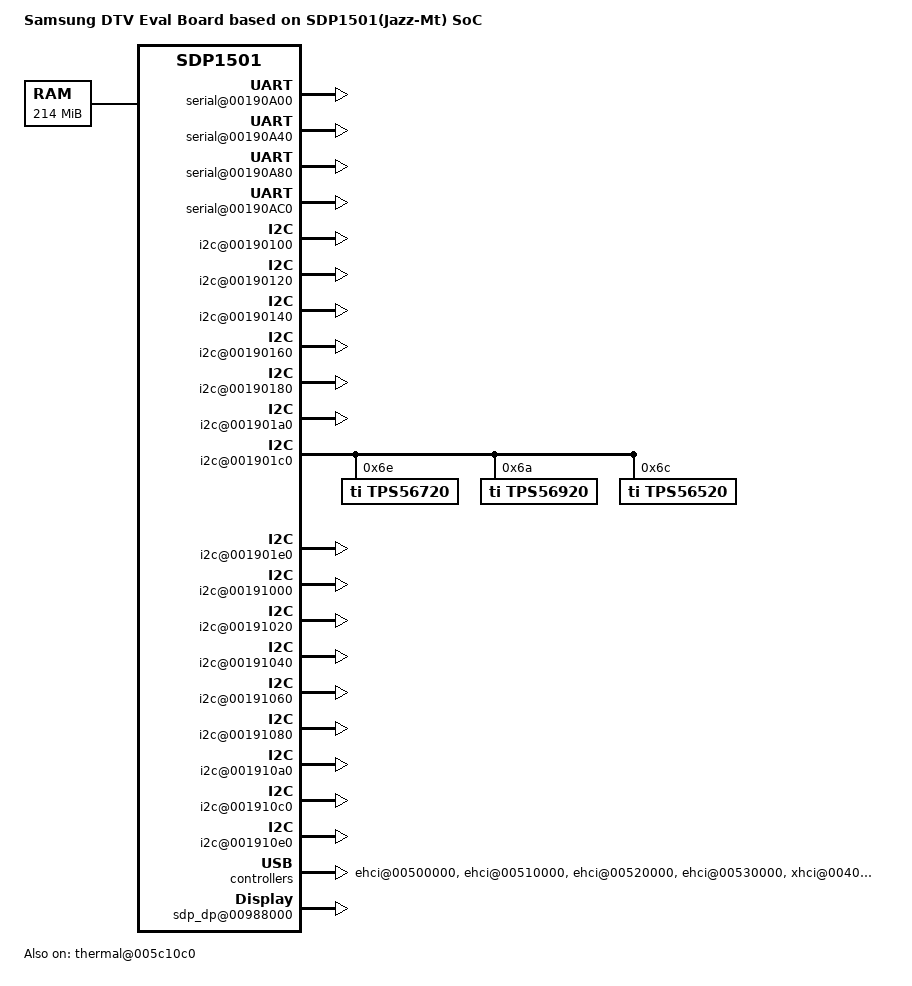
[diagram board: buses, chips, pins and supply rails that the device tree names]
/*
 * Copyright (C) 2015 Samsung Electronics Co.Ltd
 *
 * This program is free software; you can redistribute it and/or modify
 * it under the terms of the GNU General Public License version 2 as
 * published by the Free Software Foundation.
 */

/dts-v1/;
/include/ "sdp1501.dtsi"

/ {
	model = "Samsung DTV Eval Board based on SDP1501(Jazz-Mt) SoC";
	compatible = "samsung,dtv", "samsung,sdp1501";

	memory {
		device_type = "memory";
		reg = <0x01000000 0x0D600000>; //, <0x20000000 0x0AD00000>, <0x45800000 0x01200000>, <0x60000000 0x11700000>, <0x80000000 0x39400000>;
	};

	chosen {
		bootargs = "console=ttyS0,115200N8 root=/dev/mmcblk0p3 rootfstype=squashfs rootwait earlyprintk sdp_sparsemem nosmp";
	};

	fixed-rate-clocks {
		fin {
			compatible = "samsung,sdp-clock-fin";
			clock-frequency = <24576000>;
		};
	};

	serial@00190A00 {
		status = "okay";
	};

	serial@00190A40 {
		status = "okay";
	};

	serial@00190A80 {
		status = "okay";
	};

	serial@00190AC0 {
		status = "okay";
	};

	pinctrl{
		compatible = "samsung,sdp-pinctrl";
		reg = <0x005C1000 0x230>;
		start-offset = <0x118>;
		nr-banks = <23>;
		model-sel = <1>;
	};
	i2c@00190100 {
		status = "okay";
		samsung,i2c-sda-delay = <1>;
		samsung,i2c-max-bus-freq = <400000>;
		samsung,i2c-irq-status-reg = <0x001901f4>;
		samsung,i2c-cpu-affinity = <3>;
	};

	i2c@00190120 {
		status = "okay";
		samsung,i2c-sda-delay = <1>;
		samsung,i2c-max-bus-freq = <400000>;
		samsung,i2c-irq-status-reg = <0x001901f4>;
		samsung,i2c-cpu-affinity = <3>;
	};

	i2c@00190140 {
		status = "okay";
		samsung,i2c-sda-delay = <1>;
		samsung,i2c-max-bus-freq = <400000>;
		samsung,i2c-irq-status-reg = <0x001901f4>;
		samsung,i2c-cpu-affinity = <3>;
	};

	i2c@00190160 {
		status = "okay";
		samsung,i2c-sda-delay = <1>;
		samsung,i2c-max-bus-freq = <400000>;
		samsung,i2c-irq-status-reg = <0x001901f4>;
		samsung,i2c-cpu-affinity = <3>;
	};

	i2c@00190180 {
		status = "okay";
		samsung,i2c-sda-delay = <1>;
		samsung,i2c-max-bus-freq = <400000>;
		samsung,i2c-irq-status-reg = <0x001901f4>;
		samsung,i2c-cpu-affinity = <3>;
	};

	i2c@001901a0 {
		status = "okay";
		samsung,i2c-sda-delay = <1>;
		samsung,i2c-max-bus-freq = <400000>;
		samsung,i2c-irq-status-reg = <0x001901f4>;
		samsung,i2c-cpu-affinity = <3>;
	};

	i2c@001901c0 {
		status = "okay";
		samsung,i2c-sda-delay = <1>;
		samsung,i2c-max-bus-freq = <400000>;
		samsung,i2c-irq-status-reg = <0x001901f4>;
		samsung,i2c-cpu-affinity = <3>;

		tps56720@6e {
			compatible = "ti,tps56720";
			reg = <0x6e>;

			regulator-name = "CPU_PW";
			regulator-min-microvolt = <600000>;
			regulator-max-microvolt = <1870000>;
			regulator-always-on;
			regulator-boot-on;

			default_volt = <1100000>;
		};
		tps56920@6a {
			compatible = "ti,tps56920";
			reg = <0x6a>;

			regulator-name = "CORE_PW";
			regulator-min-microvolt = <600000>;
			regulator-max-microvolt = <1870000>;
			regulator-always-on;
			regulator-boot-on;

			default_volt = <1000000>;
		};
		tps56520@6c {
			compatible = "ti,tps56520";
			reg = <0x6c>;

			regulator-name = "DVDE_PW";
			regulator-min-microvolt = <600000>;
			regulator-max-microvolt = <1870000>;
			regulator-always-on;
			regulator-boot-on;

			default_volt = <1000000>;
		};
	};

	i2c@001901e0 {
		status = "okay";
		samsung,i2c-sda-delay = <1>;
		samsung,i2c-max-bus-freq = <400000>;
		samsung,i2c-irq-status-reg = <0x001901f4>;
		samsung,i2c-cpu-affinity = <3>;
		/*
		tps56520@6e {
			compatible = "ti,tps56520";
			reg = <0x6e>;

			regulator-name = "GPU_PW";
			regulator-min-microvolt = <600000>;
			regulator-max-microvolt = <1870000>;
			regulator-always-on;
			regulator-boot-on;

			default_volt = <1000000>;
		};
		tps56920@6e {
			compatible = "ti,tps56920";
			reg = <0x6c>;

			regulator-name = "FRC_PW";
			regulator-min-microvolt = <600000>;
			regulator-max-microvolt = <1870000>;
			regulator-always-on;
			regulator-boot-on;

			default_volt = <1000000>;
		};
		*/
	};

	i2c@00191000 {
		status = "okay";
		samsung,i2c-sda-delay = <1>;
		samsung,i2c-max-bus-freq = <400000>;
		samsung,i2c-irq-status-reg = <0x001910f4>;
		samsung,i2c-cpu-affinity = <3>;
	};

	i2c@00191020 {
		status = "okay";
		samsung,i2c-sda-delay = <1>;
		samsung,i2c-max-bus-freq = <400000>;
		samsung,i2c-irq-status-reg = <0x001910f4>;
		samsung,i2c-pad-enable = <0x005C1040 0x800000>;
		samsung,i2c-cpu-affinity = <3>;
	};

	i2c@00191040 {
		status = "okay";
		samsung,i2c-sda-delay = <1>;
		samsung,i2c-max-bus-freq = <400000>;
		samsung,i2c-irq-status-reg = <0x001910f4>;
	//	samsung,i2c-pad-enable = <0x10030000 0x80000000>;// Mux HS
		samsung,i2c-cpu-affinity = <3>;
	};

	i2c@00191060 {
		status = "okay";
		samsung,i2c-sda-delay = <1>;
		samsung,i2c-max-bus-freq = <400000>;
		samsung,i2c-irq-status-reg = <0x001910f4>;
		samsung,i2c-pad-enable = <0x005C1040 0x1000000>;
		samsung,i2c-cpu-affinity = <3>;
	};

	i2c@00191080 {
		status = "okay";
		samsung,i2c-sda-delay = <1>;
		samsung,i2c-max-bus-freq = <400000>;
		samsung,i2c-irq-status-reg = <0x001910f4>;
		samsung,i2c-pad-enable = <0x005C1040 0x2000000>;
		samsung,i2c-cpu-affinity = <3>;
	};

	i2c@001910a0 {
		status = "okay";
		samsung,i2c-sda-delay = <1>;
		samsung,i2c-max-bus-freq = <400000>;
		samsung,i2c-irq-status-reg = <0x001910f4>;
		samsung,i2c-cpu-affinity = <3>;
	};

	i2c@001910c0 {
		status = "okay";
		samsung,i2c-sda-delay = <1>;
		samsung,i2c-max-bus-freq = <400000>;
		samsung,i2c-irq-status-reg = <0x001910f4>;
		samsung,i2c-pad-enable = <0x005C1044 0x8000000>;
		samsung,i2c-cpu-affinity = <3>;
	};

	i2c@001910e0 {
		status = "okay";
		samsung,i2c-sda-delay = <1>;
		samsung,i2c-max-bus-freq = <400000>;
		samsung,i2c-irq-status-reg = <0x001910f4>;
		samsung,i2c-pad-enable = <0x005C1044 0x10000000>;
		samsung,i2c-cpu-affinity = <3>;

	};
/*
	i2c@00190000 {
		status = "okay";
		samsung,i2c-hs-sel = <0x130000 0x02000000>;
		samsung,i2c-hs-fifosize = <64>;
	//	samsung,i2c-sda-delay = <1>;
		samsung,i2c-hs-bus-freq = <1000000>;
	//	samsung,i2c-irq-status-reg = <0x100901F4>;
		samsung,i2c-cpu-affinity = <3>;
	};
*/
	dummy_panel {
			compatible = "dummy_panel";

			display-timings {
				native-mode = <&timing0>;

				timing0: timing-0 {
					clock-frequency = <0>;
					hactive = <1920>;
					vactive = <1080>;
					hfront-porch = <0>;
					hback-porch = <0>;
					hsync-len = <0>;
					vfront-porch = <0>;
					vback-porch = <0>;
					vsync-len = <0>;
			};
		};

	};

	ehci@00500000 {
		status = "okay";
	};

	ehci@00510000 {
		status = "okay";
	};

	ehci@00520000 {
		status = "okay";
	};

	ehci@00530000 {
		status = "okay";
	};


	xhci@00400000 {
		status = "okay";
	};


	ohci@00508000 {
		status = "okay";
	};

	ohci@00518000 {
		status = "okay";
	};

	ohci@00528000 {
		status = "okay";
	};

	ohci@00538000 {
		status = "okay";
	};

	sdp_dp@00988000 {
		compatible = "samsung,sdp1511-sdp_dp";
		reg =	<0x00C00000	0xA0000>,	/*TOP_DP_SCL*/
		<0x00CB0000	0x10000>,	/*TOP_DP_SCL2*/
		<0x00D00000	0x50000>,	/*TOP_DP_NRFC1*/
		<0x00D80000	0x30000>,	/*TOP_DP_NRFC2*/
		<0x00DC0000	0x20000>,	/*TOP_DP_NRFC3*/
		<0x00980000	0x38000>,	/*TOP_DP_VE*/
		<0x00B90000	0x10000>,	/*TOP_DP_TFC*/
		<0x00B80000	0x10000>,	/*TOP_DP_ROT*/
		<0x005C0008	0x4>,		/*TOP_VID_PLL_PMS*/
		<0x005C001C	0x4>,		/*TOP_VX1_PLL_PMS*/
		<0x005C00F8	0x4>;		/*TOP_VID_CLK_MUX_SEL*/


		interrupts              = <0 94 0>;
		samsung,dp0             = <0 0X3A300000 0x3A00000>;      /* 58 Mbyte*/
		samsung,dp1             = <0 0x79900000 0x3900000>;      /* 57 Mbyte*/
		samsung,dp2             = <0 0x3DD00000 0x2200000>;      /* 34  Mbyte*/
		samsung,dp3             = <0 0x7D200000 0x1400000>;      /* 20  Mbyte*/
		samsung,cap_wry      	= <0 0xBD900000 0x400000>;        /*4 MB*/
		samsung,cap_wrc		= <0 0xBDD00000 0x400000>;        /*4 MB*/
		samsung,dp_enc_buf      = <0 0xBBA80000 0x680000>;       /*6.5 MB*/

		samsung,dp_ttx_out      = <0 0x7EA00000 0x40000>;        /* 256KB */

/*
		clocks = <&disp_pclk_nr>,  <&disp_pclk_dcar>,  <&disp_pclk_ipc>,  <&disp_pclk_ucar>,  <&dp_scl_sub_clk>,   <&dp_scl_pclk>;
		clock-names = "disp_pclk_nr", "disp_pclk_dcar", "disp_pclk_ipc", "disp_pclk_ucar", "dp_scl_sub_clk", "dp_scl_pclk";
*/
	};
	sdp_dp_sub@0x00B71414 {
		compatible = "samsung,sdp1511-sdp_dp_sub";
		reg = <0x00B71414 0x4>;		/* AFE - OUT-PATH */
	};
	sdp_cvbsout@0x00B71414 {
		compatible = "samsung,sdp1511-sdp_cvbsout";
		reg = <0x00B71414 0x4>;		/* AFE - OUT-PATH */
		};

	drm {
			compatible = "samsung,sdp-drm";
	};

	thermal@005c10c0 {
		status = "okay";
		compatible = "samsung,sdp-thermal";

		reg = <0x005c10c0 0x30>;

		start_cold_throttle	= <40>;
		stop_cold_throttle	= <45>;
		stop_1st_throttle	= <102>;
		start_1st_throttle	= <110>;
		stop_2nd_throttle	= <112>;
		start_2nd_throttle	= <118>;
		stop_3rd_throttle	= <120>;
		start_3rd_throttle	= <125>;
		start_3rd_hotplug	= <130>;

		cpu_limit_1st_throttle	= <1000000>;
		cpu_limit_2nd_throttle	= <700000>;
		cpu_limit_3rd_throttle	= <100000>;

		gpu_limit_1st_throttle	= <200000>;
		gpu_limit_2nd_throttle	= <200000>;
		gpu_limit_3rd_throttle	= <100000>;

		log_file_path = "/rwarea/ThermalThrottle.txt";
	};

	sdp_mfc@0x00a40000 {
		samsung,bus-mode = "2bus-a";
		samsung,fw-name = "sdp_mfc/ucode-mfc.fw";
		samsung,fw-size = <0x200000>;
		/*
		* FIXME
		* maybe these addresses are configurable.
		* if so, please remove them.
		*/
		samsung,dram-base-a = <0x0E800000>;
		samsung,dram-base-b = <0x2AD00000>;
		samsung,dram-size-a = <0x0C000000>;
		samsung,dram-size-b = <0x10A00000>;
		xmif_a_reg = <0x00F10700>;
		xmif_b_reg = <0x00F20700>;
		xmif_c_reg = <0x00F30700>;
		xmif_d_reg = <0x00F40700>;
	};

	sdp_hen@0x00ac0000 {
		samsung,fw-name = "sdp_hen/ucode-hen.fw";
		samsung,fw-size = <0x100000>;
		samsung,dram-base-a = <0xBB300000>;
		samsung,dram-base-b = <0xBBA00000>;
		samsung,src-base = <0xBBD80000>;
	};

	sdp_uddec@00b00000 {
		samsung,bus-mode = "2bus-a";
		samsung,dram-base-a = <0x6b400000>;
		samsung,dram-base-b = <0x23000000>;
	};

	sdp_mmap {
		compatible = "samsung,sdp-mmap";

		/* DDR A */
		dram-base-a = <0x01000000 0x1F000000>;
		samsung,kernel0 = <0x0 0x1000000 0xD600000>;
		samsung,se-tz = <0x0 0xE600000 0x200000>;
		samsung,mfc-a = <0x0 0xE800000 0xC000000>;
		samsung,dp-ttx-vbi = <0x0 0x1A800000 0x40000>;
		samsung,avd = <0x0 0x1A840000 0x600000>;
		samsung,tsd = <0x0 0x1AE40000 0x300000>;
		samsung,pvr = <0x0 0x1B140000 0xE00000>;
		samsung,hcas = <0x0 0x1BF40000 0x100000>;
		samsung,chdec = <0x0 0x1C040000 0x880000>;
		samsung,3dfy = <0x0 0x1C8C0000 0x3600000>;
		samsung,align0 = <0x0 0x1FEC0000 0x40000>;
		samsung,str = <0x0 0x1FF00000 0x100000>;

		/* DDR B */
		dram-base-b = <0x20000000 0x20000000>;
		samsung,kernel1 = <0x0 0x20000000 0xAD00000>;
		samsung,mfc-b = <0x0 0x2AD00000 0x10A00000>;
		samsung,gfx0 = <0x0 0x3B700000 0x1000000>;
		samsung,gfx1 = <0x0 0x3C700000 0x1000000>;
		samsung,cursor = <0x0 0x3D700000 0x180000>;
		samsung,3dc = <0x0 0x3D880000 0x500000>;
		samsung,gdc = <0x0 0x3DD80000 0x500000>;
		samsung,demura = <0x0 0x3DD80000 0x1D00000>;
		samsung,emergency_log = <0x0 0x3FF80000 0x40000>;
		samsung,align1 = <0x0 0x3FFC0000 0x40000>;

		/* DDR C */
		dram-base-c = <0x40000000 0x20000000>;
		samsung,trust-zone = <0x0 0x40000000 0x4000000>;
		samsung,trust-zone-shared = <0x0 0x44000000 0x500000>;
		samsung,trust-zone-data = <0x0 0x44500000 0x0>;
		samsung,ae0 = <0x0 0x44500000 0x1200000>;
		samsung,align3 = <0x0 0x45700000 0x100000>;
		samsung,kernel2 = <0x0 0x45800000 0xF200000>;
		samsung,hen-a = <0x0 0x54A00000 0x700000>;
		samsung,dp-enc = <0x0 0x55100000 0x680000>;
		samsung,dp0 = <0x0 0x55780000 0x5400000>;
		samsung,dp2 = <0x0 0x5AB80000 0x5400000>;
		samsung,align2 = <0x0 0x5FF80000 0x80000>;

		/* DDR D */
		dram-base-d = <0x60000000 0x20000000>;
		samsung,kernel3 = <0x0 0x60000000 0x11700000>;
		samsung,hen-b = <0x0 0x71700000 0x380000>;
		samsung,dp1 = <0x0 0x71A80000 0x5C00000>;
		samsung,dp3 = <0x0 0x77680000 0x5C00000>;
		samsung,memcmap = <0x0 0x7D280000 0x2D00000>;
		samsung,align4 = <0x0 0x7FF80000 0x80000>;
		
		/* DDR E */
		dram-base-e = <0x80000000 0x40000000>;
		samsung,kernel4 = <0x0 0x80000000 0x39400000>;
		samsung,memcy = <0x0 0xB9400000 0x1200000>;
		samsung,memcc = <0x0 0xBA600000 0x1200000>;
		samsung,3dfc = <0x0 0xBB800000 0x3600000>;
		samsung,dp-cw-y = <0x0 0xBEE00000 0x400000>;
		samsung,dp-cw-c = <0x0 0xBF200000 0x180000>;
		samsung,dp-vt-y = <0x0 0xBF380000 0x800000>;
		samsung,dp-vt-c = <0x0 0xBFB80000 0x400000>;
		samsung,align5 = <0x0 0xBFF80000 0x80000>;
		
	};
};
